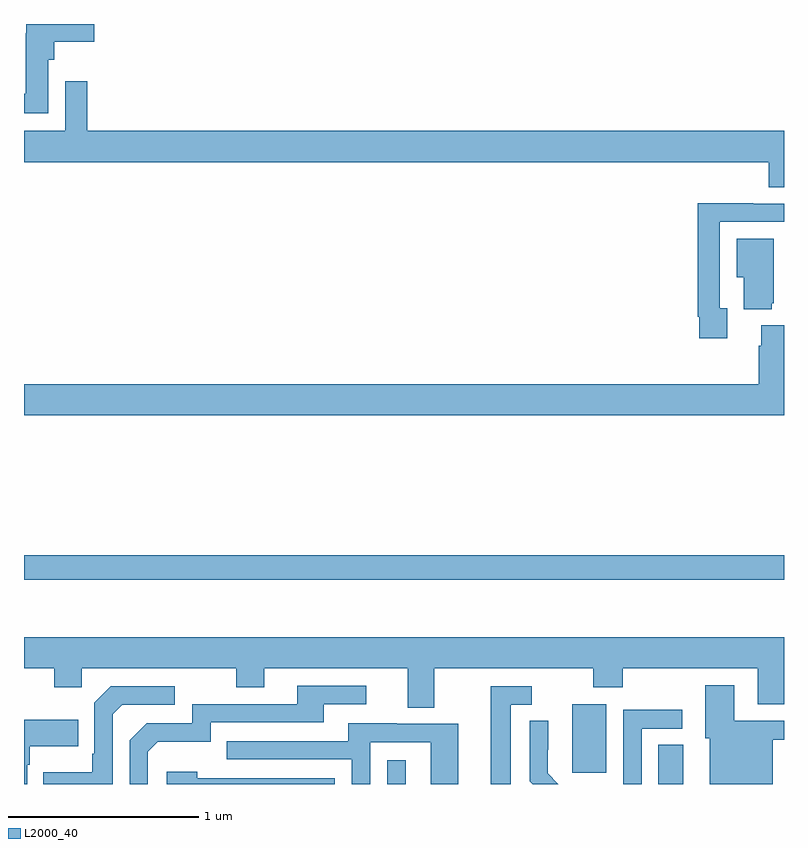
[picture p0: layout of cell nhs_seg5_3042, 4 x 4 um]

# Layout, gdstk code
import gdstk
lib = gdstk.Library(unit=1e-6, precision=1e-09)
def R(c, l, rs):  # rectangles x0, y0, x1, y1
    for r in rs: c.add(gdstk.rectangle(r[:2], r[2:], *l))
def P(c, l, *ps):  # polygons
    for p in ps: c.add(gdstk.Polygon(p, *l))
L2000_40 = (2000, 40)

nhs_seg5_3042 = lib.new_cell('nhs_seg5_3042')
R(nhs_seg5_3042, L2000_40, [(288.912,874.799,289.009,874.924), (290.339,874.799,290.47,875.006), (289.886,874.857,290.065,875.218), (287,875.874,291,876.002)])
P(nhs_seg5_3042, L2000_40, [(287.128,878.61),(287.159,878.61),(287.159,878.705),(287.371,878.705),(287.371,878.799),(287.013,878.799),(287.013,878.75),(287.009,878.75),(287.009,878.431),(287,878.431),(287,878.33),(287.128,878.33)],
  [(291,878.236),(287.333,878.236),(287.333,878.497),(287.217,878.497),(287.217,878.236),(287,878.236),(287,878.072),(290.921,878.072),(290.921,877.939),(291,877.939)],
  [(290.701,877.302),(290.661,877.302),(290.661,877.758),(291,877.758),(291,877.854),(290.837,877.854),(290.837,877.856),(290.545,877.856),(290.545,877.258),(290.553,877.258),(290.553,877.146),(290.701,877.146)],
  [(290.936,877.329),(290.947,877.329),(290.947,877.669),(290.75,877.669),(290.75,877.466),(290.789,877.466),(290.789,877.298),(290.936,877.298)],
  [(291,877.213),(290.879,877.213),(290.879,877.106),(290.867,877.106),(290.867,876.904),(287,876.904),(287,876.74),(291,876.74)],
  [(287,875.408),(287.158,875.408),(287.158,875.309),(287.304,875.309),(287.304,875.408),(288.118,875.408),(288.118,875.309),(288.265,875.309),(288.265,875.408),(289.019,875.408),(289.019,875.2),(289.159,875.2),(289.159,875.408),(289.996,875.408),(289.996,875.309),(290.151,875.309),(290.151,875.408),(290.861,875.408),(290.861,875.218),(291,875.218),(291,875.572),(287,875.572)],
  [(290.941,875.032),(291,875.032),(291,875.133),(290.737,875.133),(290.737,875.32),(290.585,875.32),(290.585,875.04),(290.609,875.04),(290.609,874.799),(290.941,874.799)],
  [(287.652,874.968),(287.705,875.021),(287.982,875.021),(287.982,875.124),(288.577,875.124),(288.577,875.22),(288.802,875.22),(288.802,875.316),(288.437,875.316),(288.437,875.22),(287.886,875.22),(287.886,875.118),(287.646,875.118),(287.556,875.028),(287.556,874.799),(287.652,874.799)],
  [(287.466,875.166),(287.517,875.217),(287.794,875.217),(287.794,875.313),(287.457,875.313),(287.37,875.226),(287.37,874.957),(287.358,874.957),(287.358,874.861),(287.101,874.861),(287.101,874.799),(287.466,874.799)],
  [(289.561,875.217),(289.672,875.217),(289.672,875.313),(289.457,875.313),(289.457,874.799),(289.561,874.799)],
  [(290.25,875.091),(290.464,875.091),(290.464,875.19),(290.154,875.19),(290.154,874.799),(290.25,874.799)],
  [(287.016,874.901),(287.029,874.901),(287.029,874.997),(287.285,874.997),(287.285,875.137),(287,875.137),(287,874.799),(287.016,874.799)],
  [(289.757,874.856),(289.757,874.978),(289.758,874.978),(289.758,875.132),(289.662,875.132),(289.662,874.814),(289.677,874.799),(289.813,874.799)],
  [(288.822,875.019),(289.14,875.019),(289.14,874.799),(289.285,874.799),(289.285,875.115),(288.961,875.115),(288.961,875.119),(288.707,875.119),(288.707,875.025),(288.067,875.025),(288.067,874.929),(288.726,874.929),(288.726,874.799),(288.822,874.799)],
  [(288.636,874.83),(287.912,874.83),(287.912,874.864),(287.751,874.864),(287.751,874.799),(288.636,874.799)])

lib.write_gds('nhs_seg5_3042.gds')
